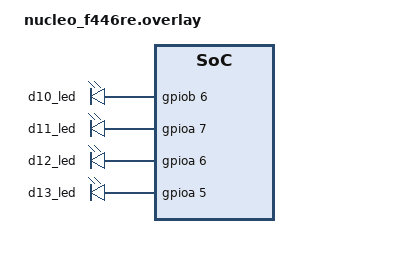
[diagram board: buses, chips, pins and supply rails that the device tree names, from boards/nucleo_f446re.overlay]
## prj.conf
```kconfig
# Heap Zephyr (k_malloc) - solo per il kernel, non per WAMR
CONFIG_HEAP_MEM_POOL_SIZE=16384

# Stack main - può tornare normale ora che WAMR ha il suo pool
CONFIG_MAIN_STACK_SIZE=4096

# Newlib - disabilita malloc arena, WAMR userà il suo pool statico
CONFIG_NEWLIB_LIBC=y
CONFIG_COMMON_LIBC_MALLOC_ARENA_SIZE=0

# Stack thread WASM (deve contenere il frame dell'interprete)
CONFIG_SYSTEM_WORKQUEUE_STACK_SIZE=2048

CONFIG_GPIO=y
CONFIG_LOG=y
CONFIG_LOG_DEFAULT_LEVEL=3
CONFIG_UART_CONSOLE=y
CONFIG_CONSOLE=y
CONFIG_FILE_SYSTEM=y

# Ensure the compiler isn't optimizing out your large buffer
CONFIG_MAIN_STACK_SIZE=4096
```

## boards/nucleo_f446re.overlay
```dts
/ {
    aliases {
        led0 = &d10_led;
        led1 = &d11_led;
        led2 = &d12_led;
        led3 = &d13_led;
    };
    leds {
        compatible = "gpio-leds";
        d10_led: d10 {
            gpios = <&gpiob 6 GPIO_ACTIVE_HIGH>;
        };
        d11_led: d11 {
            gpios = <&gpioa 7 GPIO_ACTIVE_HIGH>;
        };
        d12_led: d12 {
            gpios = <&gpioa 6 GPIO_ACTIVE_HIGH>;
        };
        d13_led: d13 {
            gpios = <&gpioa 5 GPIO_ACTIVE_HIGH>;
        };
    };
};
```

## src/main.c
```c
/*
 * src/main.c - Host WAMR+Zephyr LED toggle (threaded)
 */
#include <zephyr/kernel.h>
#include <zephyr/device.h>
#include <zephyr/drivers/gpio.h>
#include <zephyr/logging/log.h>
#include "wasm_export.h"
#include "wasm_native_led.h"
#include "led_toggle_wasm.h"

LOG_MODULE_REGISTER(main, LOG_LEVEL_INF);

/* ── WAMR sizing ─────────────────────────────────────────────────────────── */
#define WASM_STACK_SIZE   8192
#define WASM_HEAP_SIZE    8192

/* ── Thread config ───────────────────────────────────────────────────────── */
#define WASM_THREAD_STACK_SIZE   4096
#define WASM_THREAD_PRIORITY     5

K_THREAD_STACK_DEFINE(wasm_thread_stack, WASM_THREAD_STACK_SIZE);
static struct k_thread wasm_thread_data;

/* ── Shared state passed to the thread ───────────────────────────────────── */
struct wasm_thread_ctx {
    wasm_module_inst_t instance;
    int                result;   /* populated by thread before exit */
};


/* ── Thread entry ─────────────────────────────────────────────────────────── */
static void wasm_thread_entry(void *p1, void *p2, void *p3)
{
    struct wasm_thread_ctx *ctx = (struct wasm_thread_ctx *)p1;
    ARG_UNUSED(p2);
    ARG_UNUSED(p3);

    ctx->result = 0;

    wasm_function_inst_t func =
        wasm_runtime_lookup_function(ctx->instance, "app_main");
    if (!func) {
        LOG_ERR("app_main not found");
        ctx->result = -ENOENT;
        return;
    }

    wasm_exec_env_t exec_env =
        wasm_runtime_create_exec_env(ctx->instance, WASM_STACK_SIZE);
    if (!exec_env) {
        LOG_ERR("Failed to create exec_env");
        ctx->result = -ENOMEM;
        return;
    }

    if (!wasm_runtime_call_wasm(exec_env, func, 0, NULL)) {
        LOG_ERR("Exec error: %s",
                wasm_runtime_get_exception(ctx->instance));
        ctx->result = -EFAULT;
    }

    wasm_runtime_destroy_exec_env(exec_env);
}

/* ── main ─────────────────────────────────────────────────────────────────── */
int main(void)
{
    LOG_INF("WAMR LED Toggle - starting");

   

    /* WAMR init */
    RuntimeInitArgs init_args = {0};
    init_args.mem_alloc_type = Alloc_With_System_Allocator;
    if (!wasm_runtime_full_init(&init_args)) {
        LOG_ERR("WAMR init failed");
        return -ENOMEM;
    }

    /* Registra funzioni native GPIO */
    if (!register_native_led_functions()) {
        LOG_ERR("Native registration failed");
        wasm_runtime_destroy();
        return -EFAULT;
    }

    /* Carica modulo WASM */
    char error_buf[128];
    wasm_module_t module = wasm_runtime_load(
        (uint8_t *)led_toggle_wasm, led_toggle_wasm_len,
        error_buf, sizeof(error_buf));
    if (!module) {
        LOG_ERR("Load failed: %s", error_buf);
        wasm_runtime_destroy();
        return -EINVAL;
    }

    /* Istanzia */
    wasm_module_inst_t instance = wasm_runtime_instantiate(
        module, WASM_STACK_SIZE, WASM_HEAP_SIZE,
        error_buf, sizeof(error_buf));
    if (!instance) {
        LOG_ERR("Instantiate failed: %s", error_buf);
        wasm_runtime_unload(module);
        wasm_runtime_destroy();
        return -EINVAL;
    }

    /* Prepara contesto e lancia thread */
    struct wasm_thread_ctx ctx = {
        .instance = instance,
        .result   = 0,
    };

    k_tid_t tid = k_thread_create(
        &wasm_thread_data,
        wasm_thread_stack, WASM_THREAD_STACK_SIZE,
        wasm_thread_entry,
        &ctx, NULL, NULL,
        WASM_THREAD_PRIORITY, 0, K_NO_WAIT);

    LOG_INF("WASM thread spawned (tid %p)", (void *)tid);

    /* Attendi il completamento del thread */
    k_thread_join(&wasm_thread_data, K_FOREVER);

    if (ctx.result != 0) {
        LOG_ERR("WASM thread exited with error: %d", ctx.result);
    } else {
        LOG_INF("WASM thread completed successfully");
    }

    /* Cleanup */
    wasm_runtime_deinstantiate(instance);
    wasm_runtime_unload(module);
    wasm_runtime_destroy();

    return ctx.result;
}
```

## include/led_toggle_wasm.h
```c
unsigned char led_toggle_wasm[] = {
  0x00, 0x61, 0x73, 0x6d, 0x01, 0x00, 0x00, 0x00, 0x01, 0x04, 0x01, 0x60,
  0x00, 0x00, 0x02, 0x21, 0x02, 0x03, 0x65, 0x6e, 0x76, 0x08, 0x6c, 0x65,
  0x64, 0x5f, 0x69, 0x6e, 0x69, 0x74, 0x00, 0x00, 0x03, 0x65, 0x6e, 0x76,
  0x0a, 0x6c, 0x65, 0x64, 0x5f, 0x74, 0x6f, 0x67, 0x67, 0x6c, 0x65, 0x00,
  0x00, 0x03, 0x02, 0x01, 0x00, 0x04, 0x05, 0x01, 0x70, 0x01, 0x01, 0x01,
  0x05, 0x03, 0x01, 0x00, 0x01, 0x06, 0x08, 0x01, 0x7f, 0x01, 0x41, 0x80,
  0x80, 0x04, 0x0b, 0x07, 0x15, 0x02, 0x06, 0x6d, 0x65, 0x6d, 0x6f, 0x72,
  0x79, 0x02, 0x00, 0x08, 0x61, 0x70, 0x70, 0x5f, 0x6d, 0x61, 0x69, 0x6e,
  0x00, 0x02, 0x0a, 0x15, 0x01, 0x13, 0x00, 0x10, 0x80, 0x80, 0x80, 0x80,
  0x00, 0x03, 0x40, 0x10, 0x81, 0x80, 0x80, 0x80, 0x00, 0x0c, 0x00, 0x0b,
  0x0b, 0x00, 0x4e, 0x04, 0x6e, 0x61, 0x6d, 0x65, 0x00, 0x10, 0x0f, 0x6c,
  0x65, 0x64, 0x5f, 0x74, 0x6f, 0x67, 0x67, 0x6c, 0x65, 0x2e, 0x77, 0x61,
  0x73, 0x6d, 0x01, 0x21, 0x03, 0x00, 0x08, 0x6c, 0x65, 0x64, 0x5f, 0x69,
  0x6e, 0x69, 0x74, 0x01, 0x0a, 0x6c, 0x65, 0x64, 0x5f, 0x74, 0x6f, 0x67,
  0x67, 0x6c, 0x65, 0x02, 0x08, 0x61, 0x70, 0x70, 0x5f, 0x6d, 0x61, 0x69,
  0x6e, 0x07, 0x12, 0x01, 0x00, 0x0f, 0x5f, 0x5f, 0x73, 0x74, 0x61, 0x63,
  0x6b, 0x5f, 0x70, 0x6f, 0x69, 0x6e, 0x74, 0x65, 0x72, 0x00, 0x7f, 0x09,
  0x70, 0x72, 0x6f, 0x64, 0x75, 0x63, 0x65, 0x72, 0x73, 0x01, 0x0c, 0x70,
  0x72, 0x6f, 0x63, 0x65, 0x73, 0x73, 0x65, 0x64, 0x2d, 0x62, 0x79, 0x01,
  0x05, 0x63, 0x6c, 0x61, 0x6e, 0x67, 0x5f, 0x32, 0x32, 0x2e, 0x31, 0x2e,
  0x30, 0x2d, 0x77, 0x61, 0x73, 0x69, 0x2d, 0x73, 0x64, 0x6b, 0x20, 0x28,
  0x68, 0x74, 0x74, 0x70, 0x73, 0x3a, 0x2f, 0x2f, 0x67, 0x69, 0x74, 0x68,
  0x75, 0x62, 0x2e, 0x63, 0x6f, 0x6d, 0x2f, 0x6c, 0x6c, 0x76, 0x6d, 0x2f,
  0x6c, 0x6c, 0x76, 0x6d, 0x2d, 0x70, 0x72, 0x6f, 0x6a, 0x65, 0x63, 0x74,
  0x20, 0x34, 0x34, 0x33, 0x34, 0x64, 0x61, 0x62, 0x62, 0x36, 0x39, 0x39,
  0x31, 0x36, 0x38, 0x35, 0x36, 0x62, 0x38, 0x32, 0x34, 0x66, 0x36, 0x38,
  0x61, 0x36, 0x34, 0x62, 0x30, 0x32, 0x39, 0x63, 0x36, 0x37, 0x31, 0x37,
  0x35, 0x65, 0x35, 0x33, 0x32, 0x29, 0x00, 0x94, 0x01, 0x0f, 0x74, 0x61,
  0x72, 0x67, 0x65, 0x74, 0x5f, 0x66, 0x65, 0x61, 0x74, 0x75, 0x72, 0x65,
  0x73, 0x08, 0x2b, 0x0b, 0x62, 0x75, 0x6c, 0x6b, 0x2d, 0x6d, 0x65, 0x6d,
  0x6f, 0x72, 0x79, 0x2b, 0x0f, 0x62, 0x75, 0x6c, 0x6b, 0x2d, 0x6d, 0x65,
  0x6d, 0x6f, 0x72, 0x79, 0x2d, 0x6f, 0x70, 0x74, 0x2b, 0x16, 0x63, 0x61,
  0x6c, 0x6c, 0x2d, 0x69, 0x6e, 0x64, 0x69, 0x72, 0x65, 0x63, 0x74, 0x2d,
  0x6f, 0x76, 0x65, 0x72, 0x6c, 0x6f, 0x6e, 0x67, 0x2b, 0x0a, 0x6d, 0x75,
  0x6c, 0x74, 0x69, 0x76, 0x61, 0x6c, 0x75, 0x65, 0x2b, 0x0f, 0x6d, 0x75,
  0x74, 0x61, 0x62, 0x6c, 0x65, 0x2d, 0x67, 0x6c, 0x6f, 0x62, 0x61, 0x6c,
  0x73, 0x2b, 0x13, 0x6e, 0x6f, 0x6e, 0x74, 0x72, 0x61, 0x70, 0x70, 0x69,
  0x6e, 0x67, 0x2d, 0x66, 0x70, 0x74, 0x6f, 0x69, 0x6e, 0x74, 0x2b, 0x0f,
  0x72, 0x65, 0x66, 0x65, 0x72, 0x65, 0x6e, 0x63, 0x65, 0x2d, 0x74, 0x79,
  0x70, 0x65, 0x73, 0x2b, 0x08, 0x73, 0x69, 0x67, 0x6e, 0x2d, 0x65, 0x78,
  0x74
};
unsigned int led_toggle_wasm_len = 481;
```

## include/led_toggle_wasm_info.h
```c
/*
 * src/led_toggle_wasm.h
 *
 * Embedded WASM binary for the LED-toggle application.
 *
 * *** HOW TO REGENERATE ***
 *
 *  1. Install wasi-sdk (https://github.com/WebAssembly/wasi-sdk/releases)
 *
 *  2. From the wasm_app/ directory:
 *
 *       /opt/wasi-sdk/bin/clang                  \
 *           --target=wasm32-unknown-unknown        \
 *           -nostdlib                              \
 *           -Wl,--no-entry                         \
 *           -Wl,--export=app_main                  \
 *           -Wl,--allow-undefined                  \
 *           -O2                                    \
 *           -o led_toggle.wasm                     \
 *           led_toggle.c
 *
 *  3. Convert to C header:
 *
 *       xxd -i led_toggle.wasm led_toggle_wasm_raw.h
 *
 *  4. Copy the array and length from led_toggle_wasm_raw.h into this file,
 *     renaming them to `led_toggle_wasm` and `led_toggle_wasm_len`.
 *
 * The minimal WASM binary below is a hand-crafted placeholder that exports
 * an `app_main` function which blinks via the native imports.
 * Replace with the output of step 3 for production use.
 *
 * Disassembly (WAT) of the placeholder:
 *
 *   (module
 *     (import "env" "led_toggle" (func $led_toggle))
 *     (import "env" "sleep_ms"   (func $sleep_ms (param i32)))
 *     (func $app_main (export "app_main")
 *       (block $break
 *         (loop $loop
 *           call $led_toggle
 *           i32.const 500
 *           call $sleep_ms
 *           br $loop
 *         )
 *       )
 *     )
 *   )
 */

#ifndef LED_TOGGLE_WASM_H
#define LED_TOGGLE_WASM_H

#include <stdint.h>

/* Minimal hand-assembled WASM module (loop: toggle + sleep 500 ms) */
static const uint8_t led_toggle_wasm[] = {
    /* Magic + version */
    0x00, 0x61, 0x73, 0x6d,   /* \0asm                */
    0x01, 0x00, 0x00, 0x00,   /* version 1            */

    /* Type section (id=1): two types
       type[0] = () -> ()        (led_toggle, app_main)
       type[1] = (i32) -> ()     (sleep_ms)            */
    0x01,                     /* section id: type     */
    0x09,                     /* section size         */
    0x02,                     /* 2 types              */
    /* type[0]: () -> () */
    0x60, 0x00, 0x00,
    /* type[1]: (i32) -> () */
    0x60, 0x01, 0x7f, 0x00,

    /* Import section (id=2): two imports */
    0x02,                     /* section id: import   */
    0x1b,                     /* section size         */
    0x02,                     /* 2 imports            */
    /* import env.led_toggle : func type[0] */
    0x03, 0x65, 0x6e, 0x76,   /* "env"                */
    0x0a, 0x6c, 0x65, 0x64, 0x5f, 0x74, 0x6f, 0x67,
          0x67, 0x6c, 0x65,   /* "led_toggle"         */
    0x00, 0x00,               /* func, type[0]        */
    /* import env.sleep_ms : func type[1] */
    0x03, 0x65, 0x6e, 0x76,   /* "env"                */
    0x08, 0x73, 0x6c, 0x65, 0x65, 0x70, 0x5f, 0x6d,
          0x73,               /* "sleep_ms"           */
    0x00, 0x01,               /* func, type[1]        */

    /* Function section (id=3): one local function */
    0x03,                     /* section id: function */
    0x02,                     /* section size         */
    0x01,                     /* 1 function           */
    0x00,                     /* type[0]              */

    /* Export section (id=7) */
    0x07,                     /* section id: export   */
    0x0c,                     /* section size         */
    0x01,                     /* 1 export             */
    0x08, 0x61, 0x70, 0x70, 0x5f, 0x6d, 0x61, 0x69,
          0x6e,               /* "app_main"           */
    0x00, 0x02,               /* func, index 2        */

    /* Code section (id=10) */
    0x0a,                     /* section id: code     */
    0x0c,                     /* section size         */
    0x01,                     /* 1 function body      */
    0x0a,                     /* body size            */
    0x00,                     /* 0 locals             */
    /* body: loop { call 0; i32.const 500; call 1; br 0 } */
    0x03, 0x40,               /* loop (void)          */
    0x10, 0x00,               /* call $led_toggle     */
    0x41, 0xf4, 0x03,         /* i32.const 500        */
    0x10, 0x01,               /* call $sleep_ms       */
    0x0c, 0x00,               /* br 0 (loop)          */
    0x0b,                     /* end loop             */
    0x0b,                     /* end func             */
};

static const uint32_t led_toggle_wasm_len =
    (uint32_t)sizeof(led_toggle_wasm);

#endif /* LED_TOGGLE_WASM_H */
```

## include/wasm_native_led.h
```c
/*
 * src/wasm_native_led.h
 *
 * Dichiarazioni per le funzioni native (host-side) esposte al modulo WASM.
 */

#ifndef WASM_NATIVE_LED_H
#define WASM_NATIVE_LED_H

#include <zephyr/drivers/gpio.h>
#include "wasm_export.h"

/* Chiamata da main.c dopo init runtime, prima del load del modulo */
bool register_native_led_functions(void);

/* Accessor al gpio_dt_spec definito in main.c */
const struct gpio_dt_spec *get_led_spec(int32_t index);

#endif /* WASM_NATIVE_LED_H */
```

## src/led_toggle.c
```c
/*
 * wasm_app/led_toggle.c
 *
 * WASM-side application.
 * Compiled with wasi-sdk (clang --target=wasm32-unknown-unknown) to produce
 * led_toggle.wasm, which is then xxd-converted to led_toggle_wasm.h.
 *
 * Build command (from wasm_app/):
 *
 * /opt/wasi-sdk/bin/clang --target=wasm32-unknown-unknown -nostdlib -Wl,--no-entry -Wl,--export=app_main -Wl,--allow-undefined -O2 -o led_toggle.wasm led_toggle.c
 *
 *   xxd -i led_toggle.wasm > led_toggle_wasm.h
 *   # Then rename the array/length symbols to led_toggle_wasm / led_toggle_wasm_len
 *
 * The host registers these imports under the "env" module:
 *   led_on()       - turn LED on
 *   led_off()      - turn LED off
 *   led_toggle()   - toggle LED state
 *   sleep_ms(ms)   - block for <ms> milliseconds
 */

/* Declare the host-provided functions as imports */
extern void led_init();
extern void led_toggle();
extern void sleep_ms(int ms);

/* ------------------------------------------------------------------ */
/*  Entry point called by the WAMR host                               */
/* ------------------------------------------------------------------ */
__attribute__((export_name("app_main")))
void app_main(void)
{
    led_init();
    while (1) {
        led_toggle();
    }
}
```

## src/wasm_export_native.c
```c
/*
 * src/wasm_export_native.c
 *
 * Implements the native functions that the WASM module calls through
 * WAMR's NativeSymbol mechanism.
 *
 * Signature strings follow WAMR conventions:
 *   '(' param-types ')' return-type
 *   i = i32,  I = i64,  f = f32,  F = f64,  * = pointer,  $ = string
 *   Empty params/return → "()" or ""
 */

#include <zephyr/kernel.h>
#include <zephyr/drivers/gpio.h>
#include <zephyr/logging/log.h>

#include "wasm_export.h"
#include "wasm_native_led.h"

LOG_MODULE_REGISTER(native_led, LOG_LEVEL_DBG);

/* ------------------------------------------------------------------ */
/*  Native function implementations                                    */
/* ------------------------------------------------------------------ */
#define LED0_NODE DT_ALIAS(led0)

static const struct gpio_dt_spec led = GPIO_DT_SPEC_GET(LED0_NODE, gpios);
static const struct gpio_dt_spec my_pin = GPIO_DT_SPEC_GET(DT_NODELABEL(pb8_out), gpios);


static void native_led_init(wasm_exec_env_t exec_env){

     /* GPIO init */
   gpio_pin_configure_dt(&my_pin, GPIO_OUTPUT_INACTIVE);
}




/* void led_toggle(void) */
static void native_led_toggle(wasm_exec_env_t exec_env)
{

    gpio_pin_toggle_dt(&my_pin);

}

/* void sleep_ms(int32_t ms) */
static void native_sleep_ms(wasm_exec_env_t exec_env, int32_t ms)
{
    (void)exec_env;
    if (ms > 0) {
        k_msleep(ms);
    }
}

/* ------------------------------------------------------------------ */
/*  NativeSymbol table                                                 */
/* ------------------------------------------------------------------ */
static NativeSymbol native_symbols[] = {
    { "led_init",   native_led_init,   "()",  NULL },
    { "led_toggle", native_led_toggle, "()",  NULL },
    { "sleep_ms",   native_sleep_ms,   "(i)",  NULL }
};

bool register_native_led_functions(void)
{
    int n = sizeof(native_symbols) / sizeof(native_symbols[0]);
    if (!wasm_runtime_register_natives("env", native_symbols, n)) {
        return false;
    }
    LOG_INF("Registered %d native LED symbols", n);
    return true;
}
```
